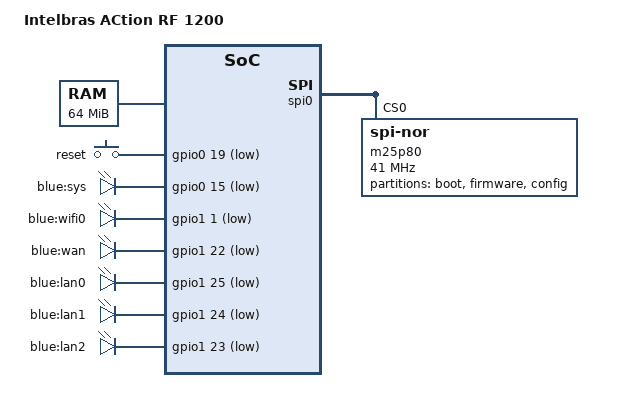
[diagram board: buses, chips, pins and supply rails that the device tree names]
// SPDX-License-Identifier: GPL-2.0
/dts-v1/;

#include "rtl8197f.dtsi"

#include <dt-bindings/gpio/gpio.h>
#include <dt-bindings/input/input.h>

/ {
	compatible = "intelbras,action-rf-1200", "realtek,rtl8197f-soc";
	model = "Intelbras ACtion RF 1200";

	aliases {
		led-boot = &led_status;
		led-failsafe = &led_status;
		led-running = &led_status;
		led-upgrade = &led_status;
	};

	memory {
		device_type = "memory";
		reg = <0x0 0x4000000>;
	};

	chosen {
		bootargs = "console=ttyS0,115200";
	};

	gpio-keys-polled {
		compatible = "gpio-keys-polled";
		#address-cells = <1>;
		#size-cells = <0>;
		poll-interval = <20>;

		reset {
			label = "reset";
			gpios = <&gpio0 19 GPIO_ACTIVE_LOW>;
			linux,code = <KEY_RESTART>;
		};
	};

	gpio-leds {
		compatible = "gpio-leds";

		led_status: sys {
			label = "blue:sys";
			gpios = <&gpio0 15 GPIO_ACTIVE_LOW>;
		};

		wifi0 {
			label = "blue:wifi0";
			gpios = <&gpio1 1 GPIO_ACTIVE_LOW>;
		};

		wan {
			label = "blue:wan";
			gpios = <&gpio1 22 GPIO_ACTIVE_LOW>;
		};

		lan0 {
			label = "blue:lan0";
			gpios = <&gpio1 25 GPIO_ACTIVE_LOW>;
		};

		lan1 {
			label = "blue:lan1";
			gpios = <&gpio1 24 GPIO_ACTIVE_LOW>;
		};

		lan2 {
			label = "blue:lan2";
			gpios = <&gpio1 23 GPIO_ACTIVE_LOW>;
		};
	};
};

&gpio0 {
	status = "okay";
};

&gpio1 {
	status = "okay";
};

&spi0 {
	status = "okay";

	m25p80@0 {
		#address-cells = <1>;
		#size-cells = <1>;
		compatible = "jedec,spi-nor";
		reg = <0>;
		spi-max-frequency = <41000000>;

		partition@0 {
			label = "boot";
			reg = <0x0 0x30000>;
			read-only;
		};

		partition@30000 {
			label = "firmware";
			reg = <0x30000 0x7B0000>;
		};

		partition@7E0000 {
			label = "config";
			reg = <0x7E0000 0x20000>;
			read-only;
		};
	};
};
